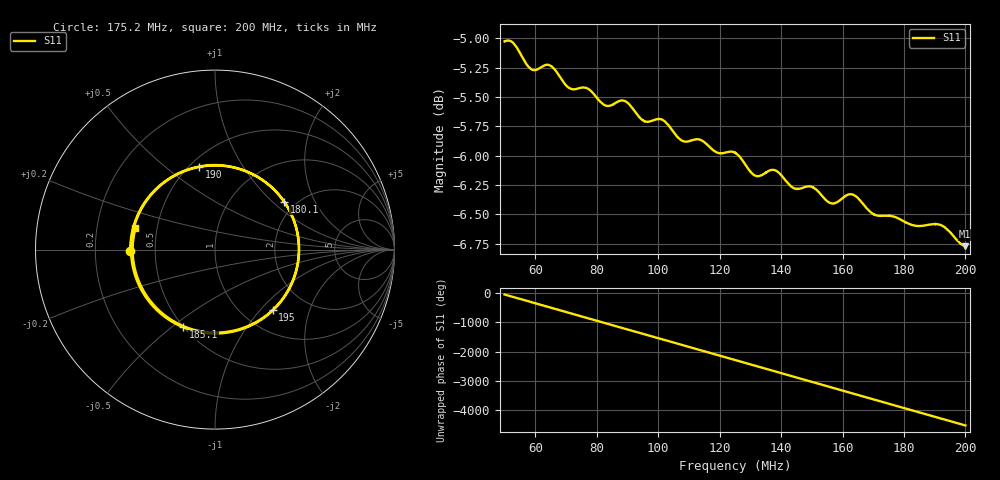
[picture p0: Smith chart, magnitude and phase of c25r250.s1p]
! COPPER MOUNTAIN TECHNOLOGIES, PLANAR TR1300/1, 00071119, 20.2.2/1.0
! Date: 12/11/2023 3:06:43 PM
! Data: Format [Calibration Info]
! Freq  S11: Re/Im F1
# HZ S RI R 50
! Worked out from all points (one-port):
!   12288 points, 50 MHz to 200 MHz, reference 50 ohm
!   lowest |S11| = -6.8 dB at 200 MHz (marker M1), VSWR 2.69, Z = 18.9 + j5.8 ohm
!   |S11| at or under -10 dB: nowhere
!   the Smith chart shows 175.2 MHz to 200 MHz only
!   S11 on the Smith chart (normalised r, x): 175.2 MHz: 0.36, -0.01; 180.1 MHz: 1.74, +1.19; 185.1 MHz: 0.50, -0.55; 190 MHz: 0.56, +0.66; 195 MHz: 1.37, -1.17; 200 MHz: 0.38, +0.11
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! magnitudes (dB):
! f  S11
! 50 MHz  -5.0
! 52.97 MHz  -5.0
! 58.56 MHz  -5.3
! 64.58 MHz  -5.2
! 68.75 MHz  -5.4
! 77.14 MHz  -5.4
! 82.84 MHz  -5.6
! 87.5 MHz  -5.5
! 95.49 MHz  -5.7
! 101.7 MHz  -5.7
! 106.3 MHz  -5.8
! 125 MHz  -6.0
! 131.2 MHz  -6.2
! 138 MHz  -6.1
! 143.8 MHz  -6.3
! 150.1 MHz  -6.3
! 156.6 MHz  -6.4
! 162.5 MHz  -6.3
! 170.1 MHz  -6.5
! 175.2 MHz  -6.5
! 180.1 MHz  -6.6
! 181.3 MHz  -6.6
! 185.1 MHz  -6.6
! 190 MHz  -6.6
! 195 MHz  -6.7
! 200 MHz  -6.8
! 200 MHz  -6.8
! 200 MHz  -6.8
